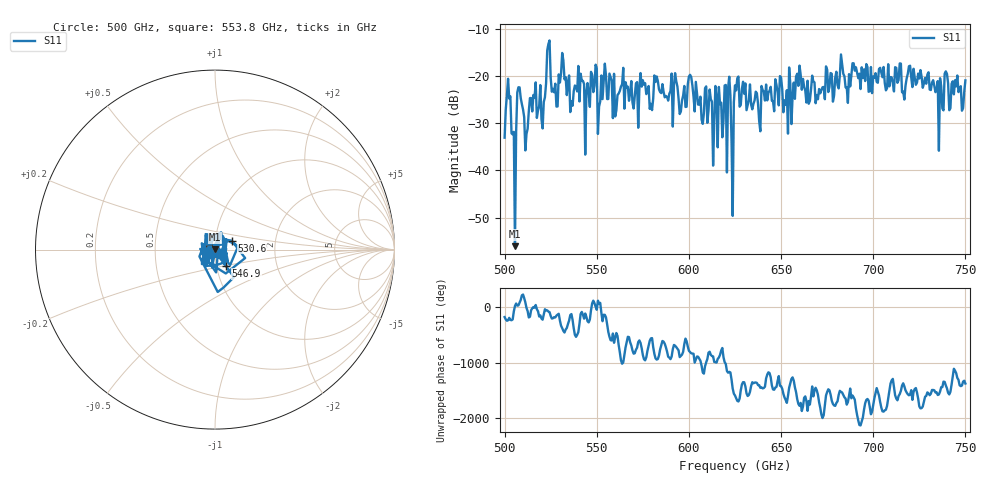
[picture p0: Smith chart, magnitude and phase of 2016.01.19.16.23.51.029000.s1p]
!Created with skrf (http://scikit-rf.org).
# GHz S RI R 50.0
!freq ReS11 ImS11
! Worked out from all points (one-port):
!   401 points, 500 GHz to 750 GHz, reference 50 ohm
!   lowest |S11| = -56.1 dB at 505.6 GHz (marker M1), VSWR 1.00, Z = 50.1 + j0.0628 ohm
!   |S11| at or under -10 dB: start of sweep to end of sweep
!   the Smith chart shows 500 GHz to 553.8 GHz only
!   S11 on the Smith chart (normalised r, x): 500 GHz: 0.96, -0.00; 530.6 GHz: 1.20, +0.12; 546.9 GHz: 1.11, -0.20; 553.8 GHz: 0.88, -0.11
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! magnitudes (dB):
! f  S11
! 500 GHz  -33.1
! 501.9 GHz  -20.6
! 504.4 GHz  -32.4
! 505.6 GHz  -56.1
! 508.1 GHz  -22.5
! 511.9 GHz  -32.3
! 515.6 GHz  -24.1
! 521.2 GHz  -25.5
! 523.8 GHz  -13.3
! 527.5 GHz  -21.7
! 530.6 GHz  -19.5
! 531.2 GHz  -15.2
! 536.9 GHz  -26.3
! 546.9 GHz  -19.2
! 551.9 GHz  -25.4
! 553.8 GHz  -21.0
! 562.5 GHz  -23.2
! 593.8 GHz  -22.3
! 625 GHz  -22.0
! 625.6 GHz  -23.1
! 656.2 GHz  -24.2
! 659.4 GHz  -22.1
! 664.4 GHz  -21.0
! 687.5 GHz  -22.2
! 718.8 GHz  -19.6
! 736.9 GHz  -22.2
! 739.4 GHz  -19.1
! 750 GHz  -21.0
